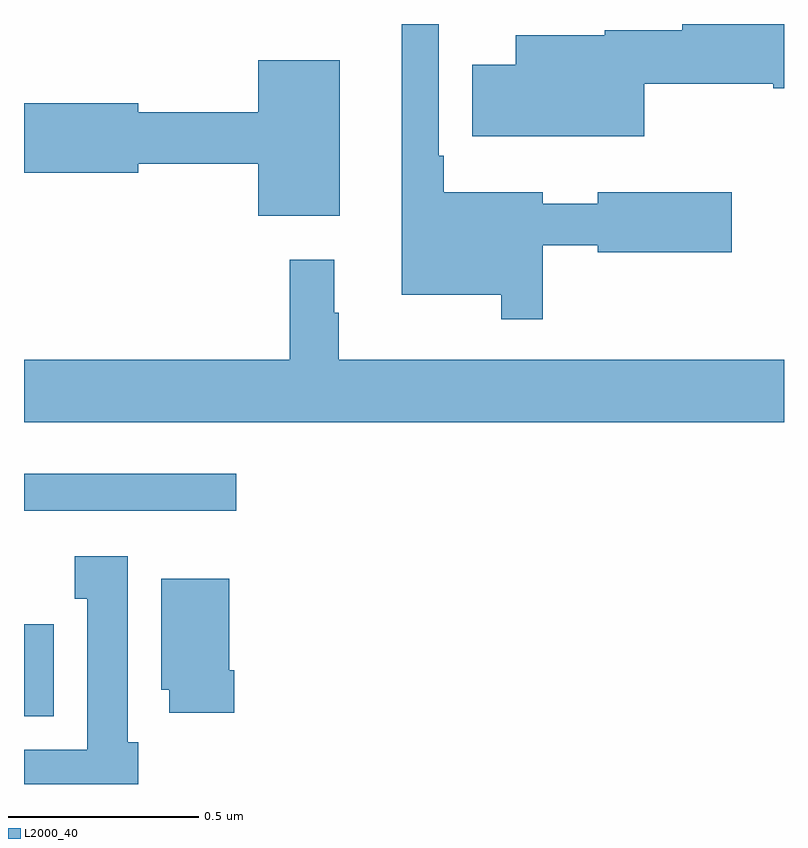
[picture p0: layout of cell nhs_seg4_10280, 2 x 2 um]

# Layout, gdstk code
import gdstk
lib = gdstk.Library(unit=1e-6, precision=1e-09)
def R(c, l, rs):  # rectangles x0, y0, x1, y1
    for r in rs: c.add(gdstk.rectangle(r[:2], r[2:], *l))
def P(c, l, *ps):  # polygons
    for p in ps: c.add(gdstk.Polygon(p, *l))
L2000_40 = (2000, 40)

nhs_seg4_10280 = lib.new_cell('nhs_seg4_10280')
R(nhs_seg4_10280, L2000_40, [(238,764.078,238.078,764.32), (238,764.619,238.558,764.716)])
P(nhs_seg4_10280, L2000_40, [(239.365,765.318),(239.51,765.318),(239.51,765.299),(239.863,765.299),(239.863,765.457),(239.51,765.457),(239.51,765.427),(239.365,765.427),(239.365,765.457),(239.104,765.457),(239.104,765.553),(239.091,765.553),(239.091,765.9),(238.994,765.9),(238.994,765.188),(239.256,765.188),(239.256,765.123),(239.365,765.123)],
  [(239.632,765.743),(239.972,765.743),(239.972,765.731),(240,765.731),(240,765.9),(239.732,765.9),(239.732,765.883),(239.528,765.883),(239.528,765.871),(239.294,765.871),(239.294,765.793),(239.18,765.793),(239.18,765.605),(239.632,765.605)],
  [(238.831,765.805),(238.616,765.805),(238.616,765.668),(238.3,765.668),(238.3,765.692),(238,765.692),(238,765.509),(238.3,765.509),(238.3,765.532),(238.616,765.532),(238.616,765.395),(238.831,765.395)],
  [(240,765.016),(238.828,765.016),(238.828,765.14),(238.816,765.14),(238.816,765.28),(238.699,765.28),(238.699,765.016),(238,765.016),(238,764.852),(240,764.852)],
  [(238.3,764.01),(238.273,764.01),(238.273,764.5),(238.133,764.5),(238.133,764.387),(238.166,764.387),(238.166,763.99),(238,763.99),(238,763.9),(238.3,763.9)],
  [(238.553,764.2),(238.54,764.2),(238.54,764.44),(238.361,764.44),(238.361,764.148),(238.382,764.148),(238.382,764.088),(238.553,764.088)])

lib.write_gds('nhs_seg4_10280.gds')
